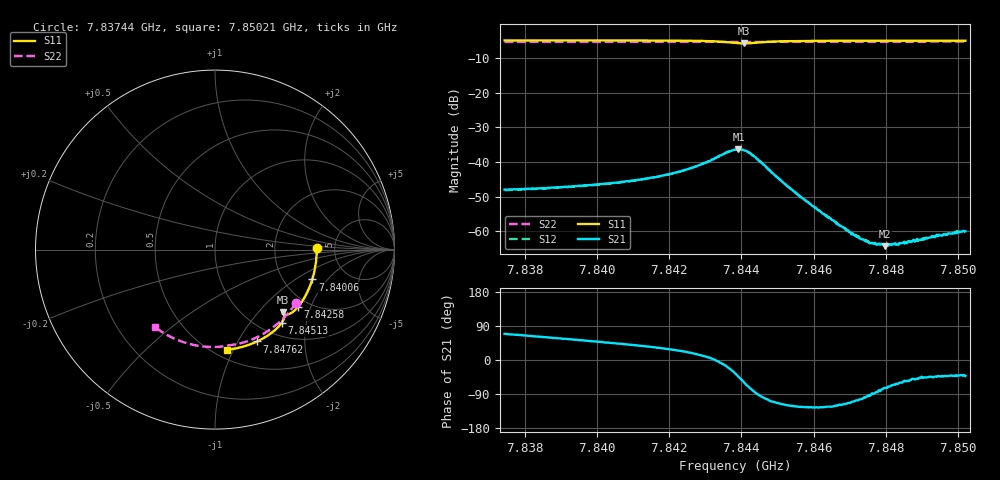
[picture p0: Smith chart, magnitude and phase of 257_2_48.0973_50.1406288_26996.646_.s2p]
#  HZ  S  RI  R  50.00
! Rohde & Schwarz Vector Network Analyzer
! Rohde-Schwarz,ZNB20-2Port,1311601062101988,3.16
! Created: UTC 12/23/2023, 4:00:23 AM
! freq[Hz]  re:S11  im:S11  re:S21  im:S21  re:S12  im:S12  re:S22  im:S22
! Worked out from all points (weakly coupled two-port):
!   401 points, 7.83744 GHz to 7.85021 GHz, reference 50 ohm
!   highest |S21| = -36.27 dB at 7.84392 GHz (marker M1); lowest = -64.2 dB at 7.84797 GHz (marker M2)
!   lowest |S11| = -5.8 dB at 7.84408 GHz (marker M3), VSWR 3.12, Z = 71.9 - j68.4 ohm
!   |S11| at or under -10 dB: nowhere
!   |S22| runs from -5.4 to -5.3 dB; largest |S21 - S12| = 0.00027
!   S11 on the Smith chart (normalised r, x): 7.83744 GHz: 3.61, +0.07; 7.84006 GHz: 2.86, -1.40; 7.84258 GHz: 1.74, -1.63; 7.84513 GHz: 1.24, -1.45; 7.84762 GHz: 0.80, -1.21; 7.85021 GHz: 0.58, -0.95
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7.837444e9  0.5664 0.0065  0.00144 0.00376  0.00142 0.00364  0.4511 -0.2963
7.839582e9  0.5507 -0.1349  0.00279 0.00361  0.00279 0.00358  0.3532 -0.4093
7.840061e9  0.5421 -0.166  0.00321 0.00356  0.00315 0.00353  0.3272 -0.4305
7.84172e9  0.4968 -0.2703  0.00527 0.00331  0.00527 0.00331  0.2279 -0.491
7.842581e9  0.4607 -0.3215  0.00767 0.00269  0.00763 0.00272  0.1716 -0.5134
7.843347e9  0.413 -0.3591  0.012 -0.000662  0.0118 -0.000721  0.1193 -0.5271
7.843825e9  0.3785 -0.3588  0.0123 -0.0087  0.0123 -0.00877  0.0873 -0.532
7.843921e9  0.3755 -0.355  0.011 -0.0107  0.011 -0.0107  0.0812 -0.5326
7.844081e9  0.3762 -0.3502  0.00747 -0.0127  0.00759 -0.0127  0.0712 -0.5342
7.844368e9  0.3851 -0.3562  0.00112 -0.0119  0.00121 -0.0119  0.0528 -0.5377
7.845134e9  0.3719 -0.4079  -0.00235 -0.00464  -0.00234 -0.00467  -0.000621 -0.5426
7.845963e9  0.3305 -0.4518  -0.00134 -0.00192  -0.00134 -0.00192  -0.0592 -0.5404
7.847048e9  0.2685 -0.4943  -0.000326 -0.000848  -0.000305 -0.000875  -0.1343 -0.5275
7.847367e9  0.2493 -0.5043  -0.000148 -0.000754  -0.000133 -0.000757  -0.1561 -0.5218
7.847622e9  0.2338 -0.512  2.57e-05 -0.000685  1.47e-06 -0.000688  -0.1732 -0.5166
7.847814e9  0.222 -0.517  0.00012 -0.000658  9.45e-05 -0.000648  -0.1858 -0.5121
7.847973e9  0.2121 -0.5215  0.00017 -0.00059  0.000186 -0.00062  -0.1964 -0.5083
7.848101e9  0.2042 -0.5247  0.00022 -0.000602  0.00022 -0.000611  -0.2047 -0.505
7.848324e9  0.1901 -0.5298  0.000287 -0.000583  0.000289 -0.000584  -0.2192 -0.4991
7.848962e9  0.1495 -0.5426  0.000515 -0.00055  0.000488 -0.000548  -0.2594 -0.4798
7.849473e9  0.1164 -0.5506  0.00066 -0.000606  0.000651 -0.00062  -0.2905 -0.462
7.850207e9  0.0681 -0.5583  0.000749 -0.000672  0.000746 -0.000659  -0.3331 -0.433
